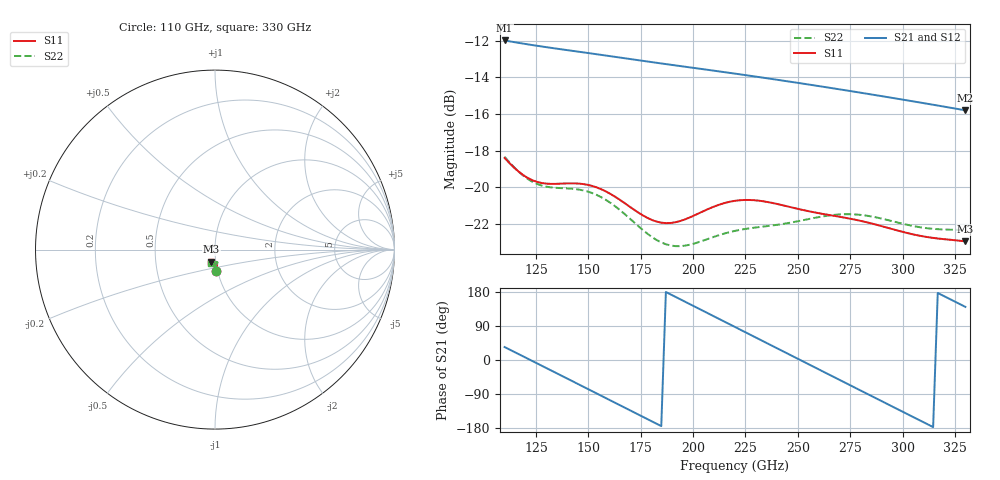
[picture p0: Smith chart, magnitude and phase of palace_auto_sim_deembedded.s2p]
! Created with skrf 1.11.0 (http://scikit-rf.org).
# GHz S DB R 50.0
!freq dBS11 angS11 dBS21 angS21 dBS12 angS12 dBS22 angS22
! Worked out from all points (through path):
!   101 points, 110 GHz to 330 GHz, reference 50 ohm
!   highest |S21| = -11.98 dB at 110 GHz (marker M1); lowest = -15.8 dB at 330 GHz (marker M2)
!   group delay of S21, straight-line fit = 7.76 ps
!   lowest |S11| = -23.0 dB at 330 GHz (marker M3), VSWR 1.15, Z = 47.5 - j6.5 ohm
!   |S11| at or under -10 dB: start of sweep to end of sweep
!   |S22| runs from -23.2 to -18.3 dB; largest |S21 - S12| = 2.4e-13
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110  -18.40 -87.5  -11.98 34.1  -11.98 34.1  -18.33 -87.4
118.8  -19.33 -85.8  -12.15 9.7  -12.15 9.7  -19.35 -86.1
127.6  -19.76 -83.2  -12.31 -14.7  -12.31 -14.7  -19.90 -83.7
138.6  -19.79 -82.3  -12.49 -45.4  -12.49 -45.4  -20.05 -82.8
147.4  -19.82 -84.2  -12.63 -70.0  -12.63 -70.0  -20.17 -84.8
156.2  -20.11 -87.2  -12.77 -94.6  -12.77 -94.6  -20.54 -87.9
165  -20.68 -89.4  -12.92 -119.2  -12.92 -119.2  -21.24 -90.4
176  -21.53 -89.0  -13.10 -149.9  -13.10 -149.9  -22.33 -90.4
184.8  -21.93 -86.0  -13.24 -174.5  -13.24 -174.5  -23.01 -87.2
193.6  -21.85 -82.9  -13.38 160.9  -13.38 160.9  -23.21 -82.9
204.6  -21.32 -82.0  -13.55 130.2  -13.55 130.2  -22.92 -79.5
220  -20.74 -86.3  -13.79 87.1  -13.79 87.1  -22.38 -79.8
228.8  -20.70 -89.9  -13.94 62.5  -13.94 62.5  -22.21 -81.0
239.8  -20.90 -93.8  -14.12 31.7  -14.12 31.7  -22.05 -82.5
248.6  -21.14 -96.1  -14.27 7.1  -14.27 7.1  -21.88 -83.8
257.4  -21.36 -97.8  -14.43 -17.5  -14.43 -17.5  -21.68 -85.8
268.4  -21.58 -99.8  -14.62 -48.2  -14.62 -48.2  -21.49 -89.3
277.2  -21.76 -101.5  -14.78 -72.8  -14.78 -72.8  -21.48 -92.8
286  -22.00 -103.1  -14.95 -97.3  -14.95 -97.3  -21.61 -96.1
294.8  -22.27 -104.4  -15.11 -121.9  -15.11 -121.9  -21.84 -98.7
312.4  -22.73 -105.4  -15.45 -170.9  -15.45 -170.9  -22.24 -101.9
330  -22.95 -107.0  -15.80 140.2  -15.80 140.2  -22.34 -105.4
